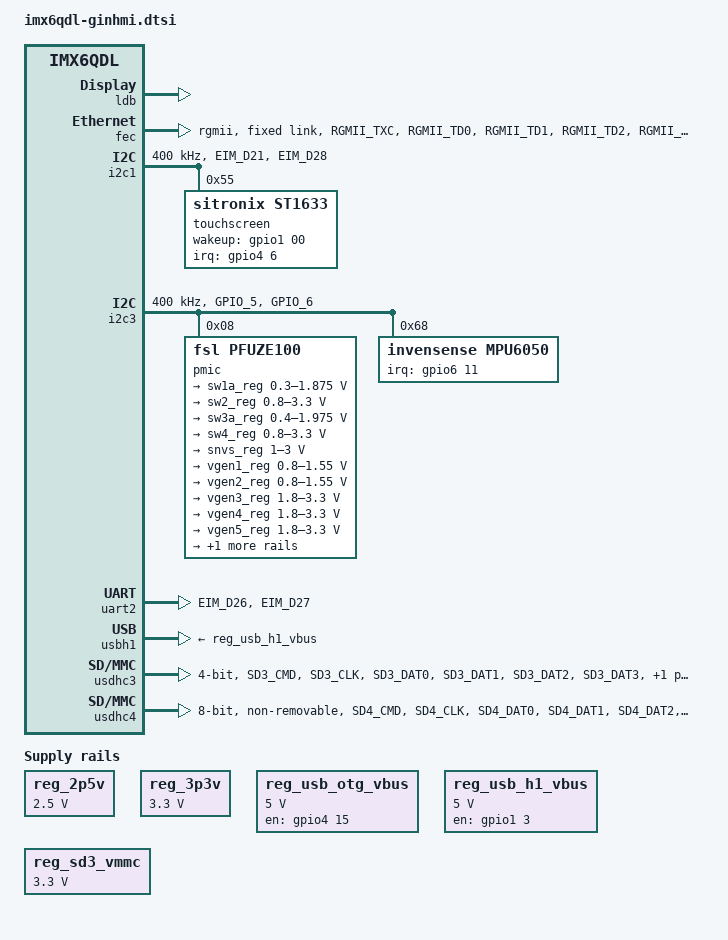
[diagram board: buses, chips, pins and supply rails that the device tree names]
/*
 * Copyright 2016 INDEL AG.
 *
 * Author: VZ <zuellig@indel.ch>
 *
 * This program is free software; you can redistribute it and/or modify
 * it under the terms of the GNU General Public License version 2 as
 * published by the Free Software Foundation.
 *
 */

#include <dt-bindings/gpio/gpio.h>

/ {
	
	aliases {
		mxcfb0 = &mxcfb1;
		mxcfb1 = &mxcfb2;
	};
	
	regulators {
		compatible = "simple-bus";
		#address-cells = <1>;
		#size-cells    = <0>;

		reg_2p5v: regulator@0 {
			compatible = "regulator-fixed";
			reg = <0>;
			regulator-name = "2P5V";
			regulator-min-microvolt = <2500000>;
			regulator-max-microvolt = <2500000>;
			regulator-always-on;
		};

		reg_3p3v: regulator@1 {
			compatible = "regulator-fixed";
			reg = <1>;
			regulator-name = "3P3V";
			regulator-min-microvolt = <3300000>;
			regulator-max-microvolt = <3300000>;
			regulator-always-on;
		};
		
		reg_usb_otg_vbus: regulator@2 {
			compatible = "regulator-fixed";
			reg = <2>;
			regulator-name = "usb_otg_vbus";
			regulator-min-microvolt = <5000000>;
			regulator-max-microvolt = <5000000>;
			gpio = <&gpio4 15 GPIO_ACTIVE_HIGH>;
			enable-active-high;
		};
		
		reg_usb_h1_vbus: regulator@3 {
			compatible = "regulator-fixed";
			reg = <3>;
			regulator-name = "usb_h1_vbus";
			regulator-min-microvolt = <5000000>;
			regulator-max-microvolt = <5000000>;
			gpio = <&gpio1 3 GPIO_ACTIVE_LOW>;
			enable-active-high;
		};
		
		reg_sd3_vmmc: regulator@4 {
			compatible = "regulator-fixed";
			regulator-name = "P3V3_SDa_SWITCHED";
			regulator-min-microvolt = <3300000>;
			regulator-max-microvolt = <3300000>;
			#gpio = <&gpio7 8 GPIO_ACTIVE_HIGH>;
			enable-active-high;
		};				
	};

	backlight_lcd {
		compatible = "pwm-backlight";
		pwms = <&pwm3 0 12000>;
		brightness-levels = <0 4 8 16 32 64 128 255>;
		default-brightness-level = <7>;
		status = "disabled";
	};
		
	backlight_ldb{
		compatible = "pwm-backlight";
		pwms = <&pwm1 0 5000000>;
		brightness-levels = <0 4 8 16 32 64 128 255>;
		default-brightness-level = <7>;
		status = "disabled";
	};
	
	lcd@0 {
			compatible = "fsl,lcd";
			ipu_id = <0>;
			disp_id = <0>;
			default_ifmt = "BGR24";
			pinctrl-names = "default";
			pinctrl-0 = <&pinctrl_ipu1>;
			status = "disabled";
	};
	
	mxcfb1: fb@0 {
			compatible = "fsl,mxc_sdc_fb";
			disp_dev = "ldb";
			interface_pix_fmt = "RGB24";
			default_bpp = <24>;
			int_clk = <0>;
			late_init = <0>;
			status = "okay";
		};
	/*
	mxcfb1: fb@0{
			compatible = "fsl,mxc_sdc_fb";
			disp_dev = "lcd";
			interface_pix_fmt = "BGR24";
			mode_str ="AMPIRE-PSP";
			default_bpp = <16>;
			int_clk = <0>;
			late_init = <0>;
			status = "okay";
	};*/
	
	mxcfb2: fb@1 {
			compatible = "fsl,mxc_sdc_fb";
			disp_dev = "hdmi";
			interface_pix_fmt = "RGB24";
			mode_str ="1920x1080M@60";
			default_bpp = <24>;
			int_clk = <0>;
			late_init = <0>;
			status = "disabled";
	};
	
};

&ldb {
		status = "okay";

		lvds-channel@0 {
			fsl,data-mapping = "jeida";
			fsl,data-width = <24>;
			crtc = "ipu1-di0";
			primary;
			status = "okay";

			display-timings {
				native-mode = <&timing0>;
				timing0: hsd100pxn1 {
					clock-frequency = <10000000>;
					hactive = <480>;
					vactive = <272>;
					hfront-porch = <2 2 82>;
					hback-porch = <2 2 41>;
					hsync-len = <2 41 41>;
					vfront-porch = <1 2 227>;
					vback-porch = <1 2 11>;
					vsync-len = <1 10 11>;
			};
		};
	};
};

&clks {
	fsl,ldb-di0-parent = <&clks IMX6QDL_CLK_PLL5_VIDEO_DIV>;
	fsl,ldb-di1-parent = <&clks IMX6QDL_CLK_PLL5_VIDEO_DIV>;
};


&fec {
	pinctrl-names = "default";	
	pinctrl-0 = <&pinctrl_enet>;
	phy-mode = "rgmii";
	phy-reset-gpios = <&gpio1 25 1>;
	status = "okay";
	
	fixed-link {
					speed = <100>;
					full-duplex;
				  };

};

&hdmi_video {
	fsl,phy_reg_vlev = <0x0294>;
	fsl,phy_reg_cksymtx = <0x800d>;
	status = "disabled";
};

&hdmi_audio {
	status = "disabled";
};

&hdmi_cec {
	pinctrl-names = "default";
	pinctrl-0 = <&pinctrl_hdmi_cec>;
	status = "disabled";
};

&hdmi_core {
	ipu_id = <0>;
	disp_id = <1>;
	status = "disabled";
};

/* Touch */
&i2c1 {
	clock-frequency = <400000>;
	pinctrl-names = "default";
	pinctrl-0 = <&pinctrl_i2c1>;
	status = "okay";

	touchscreen@55 {
		compatible = "sitronix,st1633";
		reg = <0x55>;
		interrupt-parent = <&gpio4>;
		interrupts = <6 8>;
		wakeup-gpios = <&gpio1 00 GPIO_ACTIVE_HIGH>;	
	};	
};

/* HDMI */
&i2c2 {
	clock-frequency = <100000>;
	pinctrl-names = "default";
	pinctrl-0 = <&pinctrl_i2c2>;
	status = "disabled";
	
	hdmi: edid@50 {
		compatible = "fsl,imx6-hdmi-i2c";
		reg = <0x50>;
	};
};


&i2c3 {
	clock-frequency = <400000>;
	pinctrl-names = "default";
	pinctrl-0 = <&pinctrl_i2c3>;
	status = "okay";
	
	pmic: pfuze100@08 {
		compatible = "fsl,pfuze100";
		reg = <0x08>;

		regulators {
			sw1a_reg: sw1abc {
				regulator-min-microvolt = <300000>;
				regulator-max-microvolt = <1875000>;
				regulator-boot-on;
				regulator-always-on;
				regulator-ramp-delay = <6250>;
			};

			sw2_reg: sw2 {
				regulator-min-microvolt = <800000>;
				regulator-max-microvolt = <3300000>;
				regulator-boot-on;
				regulator-always-on;
			};

			sw3a_reg: sw3a {
				regulator-min-microvolt = <400000>;
				regulator-max-microvolt = <1975000>;
				regulator-boot-on;
				regulator-always-on;
			};

			sw4_reg: sw4 {
				regulator-min-microvolt = <800000>;
				regulator-max-microvolt = <3300000>;
			};

			snvs_reg: vsnvs {
				regulator-min-microvolt = <1000000>;
				regulator-max-microvolt = <3000000>;
				regulator-boot-on;
				regulator-always-on;
			};

			vref_reg: vrefddr {
				regulator-boot-on;
				regulator-always-on;
			};

			vgen1_reg: vgen1 {
				regulator-min-microvolt = <800000>;
				regulator-max-microvolt = <1550000>;
			};

			vgen2_reg: vgen2 {
				regulator-min-microvolt = <800000>;
				regulator-max-microvolt = <1550000>;
			};

			vgen3_reg: vgen3 {
				regulator-min-microvolt = <1800000>;
				regulator-max-microvolt = <3300000>;
			};

			vgen4_reg: vgen4 {
				regulator-min-microvolt = <1800000>;
				regulator-max-microvolt = <3300000>;
				regulator-always-on;
			};

			vgen5_reg: vgen5 {
				regulator-min-microvolt = <1800000>;
				regulator-max-microvolt = <3300000>;
				regulator-always-on;
			};

			vgen6_reg: vgen6 {
				regulator-min-microvolt = <1800000>;
				regulator-max-microvolt = <3300000>;
				regulator-always-on;
			};
		};
	};
	
	mpu6050@68 {
		compatible = "invensense,mpu6050";
		reg = <0x68>;
		interrupt-parent = <&gpio6>;
		interrupts = <11 0x01>;
		invensense,int_config = <0x10>;
		invensense,level_shifter = <0>;
		invensense,orientation = [01 00 00 00 01 00 00 00 01];
		invensense,sec_slave_type = <0>;
		invensense,key = [4e cc 7e eb f6 1e 35 22 00 34 0d 65 32 e9 94 89];
	};
	
	
};

&pwm1 {
	pinctrl-names = "default";
	pinctrl-0 = <&pinctrl_pwm1>;
	status = "disabled";
};


&pwm3 {
	pinctrl-names = "default";
	pinctrl-0 = <&pinctrl_pwm3>;
	status = "disabled";
};

&uart2 {
	pinctrl-names = "default";
	pinctrl-0 = <&pinctrl_uart2>;
	status = "okay";
};


&usbh1 {
	status = "okay";
};


&usbh1 {
	vbus-supply = <&reg_usb_h1_vbus>;
	status = "okay";
};


&usbotg {
	pinctrl-names = "default";
	pinctrl-0 = <&pinctrl_usbotg>;
	disable-over-current;
	dr_mode = "peripheral";
	status = "disabled";
};


&usdhc3 {
	pinctrl-names = "default";
	pinctrl-0 = <&pinctrl_usdhc3>;
	bus-width = <4>;
	cd-gpios = <&gpio2 1 GPIO_ACTIVE_LOW>;
	
	no-1-8-v;
	keep-power-in-suspend;
	enable-sdio-wakeup;
	status = "okay";
};


&usdhc4 {
	pinctrl-names = "default";
	pinctrl-0 = <&pinctrl_usdhc4>;
	bus-width = <8>;
	non-removable;
	no-1-8-v;
	keep-power-in-suspend;
	status = "okay";
};
	
&iomuxc {
	pinctrl-names = "default";
	pinctrl-0 = <&pinctrl_hog>;
	
	imx6qdl-ginhmi {
		
		pinctrl_hog: hoggrp {
			fsl,pins = <
				
				MX6QDL_PAD_EIM_D30__GPIO3_IO30 0x0f0b0	/* Touch controller reset active low     */
				MX6QDL_PAD_EIM_D29__GPIO3_IO29 0x0f0b0	/* Touch controller interrupt active low */
				MX6QDL_PAD_GPIO_18__SD3_VSELECT 0x17059
			>;
		};

				pinctrl_ecspi1: ecspi1grp {
					fsl,pins = <
						MX6QDL_PAD_EIM_D17__ECSPI1_MISO		0x100b1
						MX6QDL_PAD_EIM_D18__ECSPI1_MOSI		0x100b1
						MX6QDL_PAD_EIM_D16__ECSPI1_SCLK		0x100b1
					>;
				};

				pinctrl_ecspi1_cs: ecspi1cs {
					fsl,pins = <
						MX6QDL_PAD_EIM_D19__GPIO3_IO19 0x80000000
					>;
				};
		
		
		pinctrl_enet: enetgrp {
			fsl,pins = <
				MX6QDL_PAD_RGMII_TXC__RGMII_TXC			0x1b0b0
				MX6QDL_PAD_RGMII_TD0__RGMII_TD0			0x1b0b0
				MX6QDL_PAD_RGMII_TD1__RGMII_TD1			0x1b0b0
				MX6QDL_PAD_RGMII_TD2__RGMII_TD2			0x1b0b0
				MX6QDL_PAD_RGMII_TD3__RGMII_TD3			0x1b0b0
				MX6QDL_PAD_RGMII_TX_CTL__RGMII_TX_CTL	0x1b0b0
				MX6QDL_PAD_ENET_REF_CLK__ENET_TX_CLK	0x1b0b0
				MX6QDL_PAD_RGMII_RXC__RGMII_RXC			0x1b0b0
				MX6QDL_PAD_RGMII_RD0__RGMII_RD0			0x1b0b0
				MX6QDL_PAD_RGMII_RD1__RGMII_RD1			0x1b0b0
				MX6QDL_PAD_RGMII_RD2__RGMII_RD2			0x1b0b0
				MX6QDL_PAD_RGMII_RD3__RGMII_RD3			0x1b0b0
				MX6QDL_PAD_RGMII_RX_CTL__RGMII_RX_CTL	0x1b0b0
				
			>;
		};

		

		pinctrl_hdmi_cec: hdmicecgrp {
			fsl,pins = <
				MX6QDL_PAD_KEY_ROW2__HDMI_TX_CEC_LINE 0x1f8b0
			>;
		};
		
		pinctrl_i2c1: i2c1grp {
			fsl,pins = <
				MX6QDL_PAD_EIM_D21__I2C1_SCL 		0x4001b8b1
				MX6QDL_PAD_EIM_D28__I2C1_SDA 		0x4001b8b1
			>;
		};

		pinctrl_i2c2: i2c2grp {
			fsl,pins = <
				MX6QDL_PAD_KEY_COL3__I2C2_SCL		0x4001b8b1
				MX6QDL_PAD_KEY_ROW3__I2C2_SDA		0x4001b8b1
			>;
		};

		pinctrl_i2c3: i2c3grp {
			fsl,pins = <
				MX6QDL_PAD_GPIO_5__I2C3_SCL			0x4001b8b1
				MX6QDL_PAD_GPIO_6__I2C3_SDA			0x4001b8b1
			>;
		};

	
		pinctrl_pwm3: pwm3grp {
			fsl,pins = <
				MX6QDL_PAD_SD1_DAT1__PWM3_OUT		0x1b0b1
			>;
		};
		
		
		pinctrl_pwm1: pwm1grp {
					fsl,pins = <
						MX6QDL_PAD_GPIO_9__PWM1_OUT		0x1b0b1
					>;
				};
		
	
		
		
		pinctrl_uart2: uart2grp {
			fsl,pins = <
				MX6QDL_PAD_EIM_D26__UART2_TX_DATA	0x1b0b1
				MX6QDL_PAD_EIM_D27__UART2_RX_DATA	0x1b0b1
			>;
		};
				
	

		pinctrl_usbotg: usbotggrp {
			fsl,pins = <
				MX6QDL_PAD_GPIO_1__USB_OTG_ID 0x17059
			>;
		};


		pinctrl_usdhc3: usdhc3grp {
			fsl,pins = <
				MX6QDL_PAD_SD3_CMD__SD3_CMD		0x17059
				MX6QDL_PAD_SD3_CLK__SD3_CLK		0x10059
				MX6QDL_PAD_SD3_DAT0__SD3_DATA0		0x17059
				MX6QDL_PAD_SD3_DAT1__SD3_DATA1		0x17059
				MX6QDL_PAD_SD3_DAT2__SD3_DATA2		0x17059
				MX6QDL_PAD_SD3_DAT3__SD3_DATA3		0x17059
			>;
		};
		
		pinctrl_usdhc4: usdhc4grp {
			fsl,pins = <
				MX6QDL_PAD_SD4_CMD__SD4_CMD			0x17059
				MX6QDL_PAD_SD4_CLK__SD4_CLK			0x10059
				MX6QDL_PAD_SD4_DAT0__SD4_DATA0		0x17059
				MX6QDL_PAD_SD4_DAT1__SD4_DATA1		0x17059
				MX6QDL_PAD_SD4_DAT2__SD4_DATA2		0x17059
				MX6QDL_PAD_SD4_DAT3__SD4_DATA3		0x17059
				MX6QDL_PAD_SD4_DAT4__SD4_DATA4		0x17059
				MX6QDL_PAD_SD4_DAT5__SD4_DATA5		0x17059
				MX6QDL_PAD_SD4_DAT6__SD4_DATA6		0x17059
				MX6QDL_PAD_SD4_DAT7__SD4_DATA7		0x17059
			>;
		};
		
		pinctrl_ipu1: ipu1grp {
					fsl,pins = <
						MX6QDL_PAD_DI0_DISP_CLK__IPU1_DI0_DISP_CLK 0x08
						MX6QDL_PAD_DI0_PIN15__IPU1_DI0_PIN15       0x08
						MX6QDL_PAD_DI0_PIN2__IPU1_DI0_PIN02        0x08
						MX6QDL_PAD_DI0_PIN3__IPU1_DI0_PIN03        0x08
						MX6QDL_PAD_DI0_PIN4__IPU1_DI0_PIN04        0x80000000 
						MX6QDL_PAD_DISP0_DAT0__IPU1_DISP0_DATA00   0x08
						MX6QDL_PAD_DISP0_DAT1__IPU1_DISP0_DATA01   0x08
						MX6QDL_PAD_DISP0_DAT2__IPU1_DISP0_DATA02   0x08
						MX6QDL_PAD_DISP0_DAT3__IPU1_DISP0_DATA03   0x08
						MX6QDL_PAD_DISP0_DAT4__IPU1_DISP0_DATA04   0x08
						MX6QDL_PAD_DISP0_DAT5__IPU1_DISP0_DATA05   0x08
						MX6QDL_PAD_DISP0_DAT6__IPU1_DISP0_DATA06   0x08
						MX6QDL_PAD_DISP0_DAT7__IPU1_DISP0_DATA07   0x08
						MX6QDL_PAD_DISP0_DAT8__IPU1_DISP0_DATA08   0x08
						MX6QDL_PAD_DISP0_DAT9__IPU1_DISP0_DATA09   0x08
						MX6QDL_PAD_DISP0_DAT10__IPU1_DISP0_DATA10  0x08
						MX6QDL_PAD_DISP0_DAT11__IPU1_DISP0_DATA11  0x08
						MX6QDL_PAD_DISP0_DAT12__IPU1_DISP0_DATA12  0x08
						MX6QDL_PAD_DISP0_DAT13__IPU1_DISP0_DATA13  0x08
						MX6QDL_PAD_DISP0_DAT14__IPU1_DISP0_DATA14  0x08
						MX6QDL_PAD_DISP0_DAT15__IPU1_DISP0_DATA15  0x08
						MX6QDL_PAD_DISP0_DAT16__IPU1_DISP0_DATA16  0x08
						MX6QDL_PAD_DISP0_DAT17__IPU1_DISP0_DATA17  0x08
						MX6QDL_PAD_DISP0_DAT18__IPU1_DISP0_DATA18  0x08
						MX6QDL_PAD_DISP0_DAT19__IPU1_DISP0_DATA19  0x08
						MX6QDL_PAD_DISP0_DAT20__IPU1_DISP0_DATA20  0x08
						MX6QDL_PAD_DISP0_DAT21__IPU1_DISP0_DATA21  0x08
						MX6QDL_PAD_DISP0_DAT22__IPU1_DISP0_DATA22  0x08
						MX6QDL_PAD_DISP0_DAT23__IPU1_DISP0_DATA23  0x08
					>;
				};
		
		
		
		pinctrl_weim_cs0: weimcs0grp {
			fsl,pins = <
				MX6QDL_PAD_EIM_CS0__EIM_CS0_B		0xb0b1
			>;
		};

		pinctrl_weim_nor: weimnorgrp {										
			fsl,pins = <
				MX6QDL_PAD_EIM_OE__EIM_OE_B			0xb0b1
				MX6QDL_PAD_EIM_RW__EIM_RW			0xb0b1
				MX6QDL_PAD_EIM_WAIT__EIM_DTACK_B	0xb060
				MX6QDL_PAD_EIM_DA0__EIM_AD00		0xb0b1
				MX6QDL_PAD_EIM_DA1__EIM_AD01		0xb0b1
				MX6QDL_PAD_EIM_DA2__EIM_AD02		0xb0b1
				MX6QDL_PAD_EIM_DA3__EIM_AD03		0xb0b1
				MX6QDL_PAD_EIM_DA4__EIM_AD04		0xb0b1
				MX6QDL_PAD_EIM_DA5__EIM_AD05		0xb0b1
				MX6QDL_PAD_EIM_DA6__EIM_AD06		0xb0b1
				MX6QDL_PAD_EIM_DA7__EIM_AD07		0xb0b1
				MX6QDL_PAD_EIM_DA8__EIM_AD08		0xb0b1
				MX6QDL_PAD_EIM_DA9__EIM_AD09		0xb0b1
				MX6QDL_PAD_EIM_DA10__EIM_AD10		0xb0b1
				MX6QDL_PAD_EIM_DA11__EIM_AD11		0xb0b1
				MX6QDL_PAD_EIM_DA12__EIM_AD12		0xb0b1
				MX6QDL_PAD_EIM_DA13__EIM_AD13		0xb0b1
				MX6QDL_PAD_EIM_DA14__EIM_AD14		0xb0b1
				MX6QDL_PAD_EIM_DA15__EIM_AD15		0xb0b1
				MX6QDL_PAD_CSI0_DATA_EN__EIM_DATA00 0x1b0b0
				MX6QDL_PAD_CSI0_VSYNC__EIM_DATA01 	0x1b0b0
				MX6QDL_PAD_CSI0_DAT4__EIM_DATA02  	0x1b0b0
				MX6QDL_PAD_CSI0_DAT5__EIM_DATA03 	0x1b0b0
				MX6QDL_PAD_CSI0_DAT6__EIM_DATA04 	0x1b0b0
				MX6QDL_PAD_CSI0_DAT7__EIM_DATA05 	0x1b0b0
				MX6QDL_PAD_CSI0_DAT8__EIM_DATA06 	0x1b0b0
				MX6QDL_PAD_CSI0_DAT9__EIM_DATA07 	0x1b0b0
				MX6QDL_PAD_CSI0_DAT12__EIM_DATA08 	0x1b0b0
				MX6QDL_PAD_CSI0_DAT13__EIM_DATA09 	0x1b0b0
				MX6QDL_PAD_CSI0_DAT14__EIM_DATA10 	0x1b0b0
				MX6QDL_PAD_CSI0_DAT15__EIM_DATA11 	0x1b0b0
				MX6QDL_PAD_CSI0_DAT16__EIM_DATA12 	0x1b0b0
				MX6QDL_PAD_CSI0_DAT17__EIM_DATA13 	0x1b0b0
				MX6QDL_PAD_CSI0_DAT18__EIM_DATA14 	0x1b0b0
				MX6QDL_PAD_CSI0_DAT19__EIM_DATA15 	0x1b0b0
			>;
		};
	};
};





